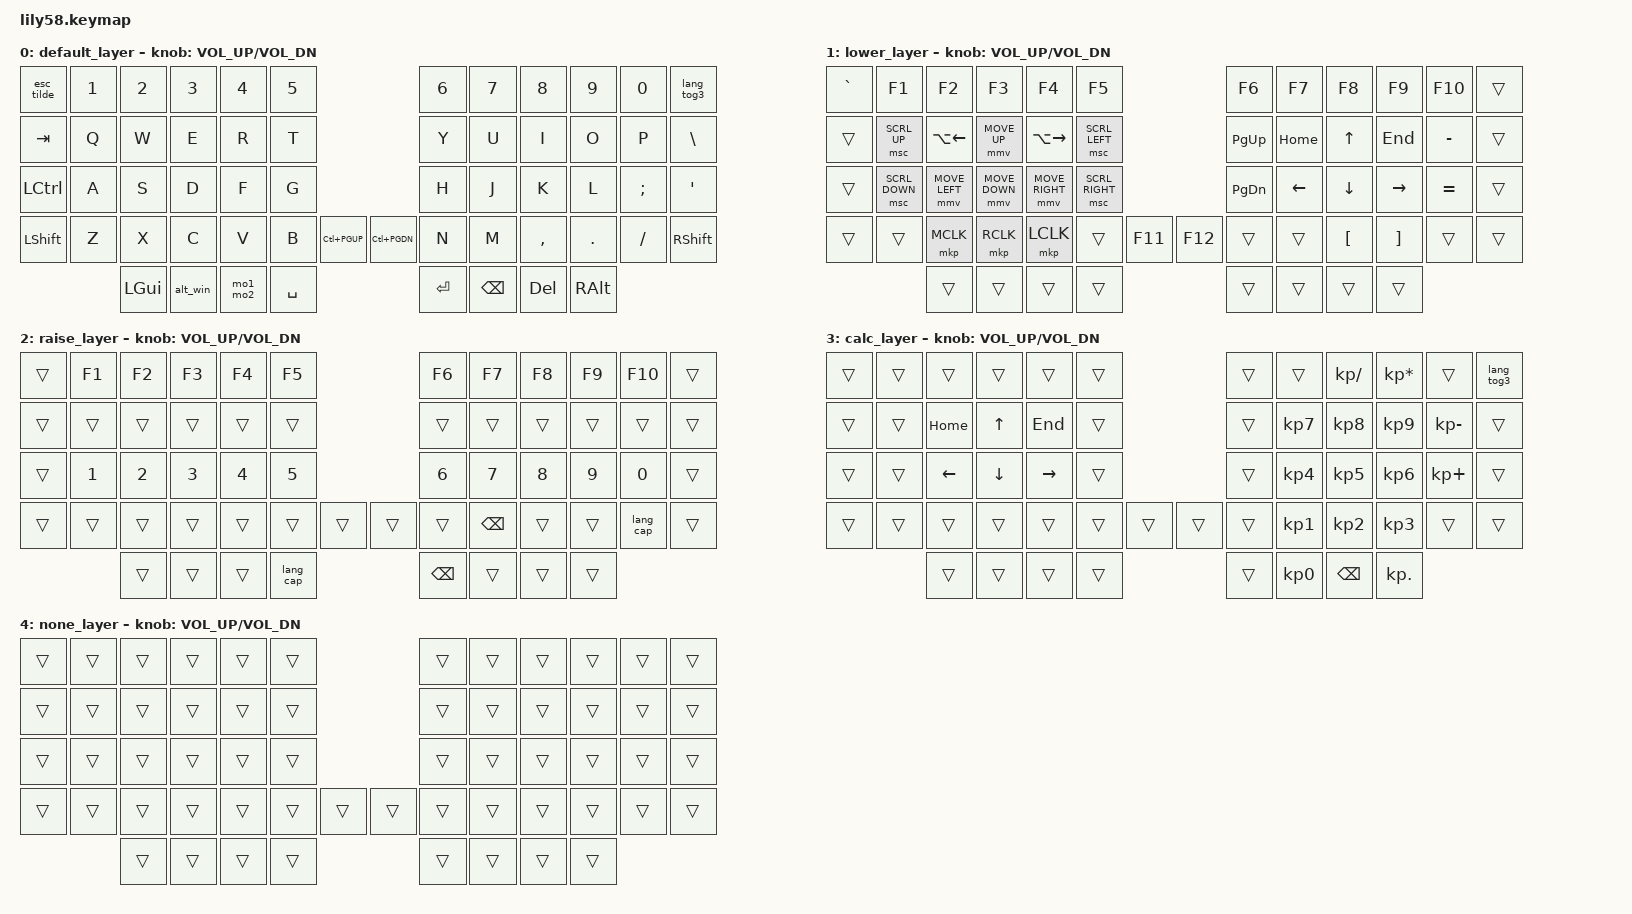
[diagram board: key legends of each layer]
/*
 * Copyright (c) 2020 The ZMK Contributors
 *
 * SPDX-License-Identifier: MIT
 */

#define ZMK_POINTING_DEFAULT_MOVE_VAL 800  // default: 600
#define ZMK_POINTING_DEFAULT_SCRL_VAL 20    // default: 10

#include <behaviors.dtsi>
#include <dt-bindings/zmk/keys.h>
#include <dt-bindings/zmk/bt.h>
#include <dt-bindings/zmk/ext_power.h>
#include <dt-bindings/zmk/pointing.h> // 마우스 기능 추가




/ {
    behaviors {
    //// 모드 모프 ////
        
        // (ESC, ~)
        // 우측 쉬프트 누름 여부에 따라 ESC 또는 Tilde(~) 입력
        esc_tilde: esc_tilde {
            compatible = "zmk,behavior-mod-morph";
            #binding-cells = <0>;
            bindings = <&kp ESC>, <&kp TILDE>;
            mods = <(MOD_RSFT)>;
        };

        // lang_cap 1단계: Ctrl에 따른 분기 
        // (Hangeul, CapsLock)
        // 컨트롤 누름 여부에 따라 한/영 또는 Capslock 입력
        lang_cap:  lang_capslock {
            compatible = "zmk,behavior-mod-morph";
            #binding-cells = <0>;
            bindings = <&kp LANG_HANGEUL>, <&caps_hanja>;
            mods = <(MOD_LCTL)>;
        };

        // lang_cap 2단계: Shift에 따른 분기
        caps_hanja: caps_hanja {
            compatible = "zmk,behavior-mod-morph";
            #binding-cells = <0>;
            bindings = <&kp CAPS>, <&kp LANG_HANJA>;  
            mods = <(MOD_LSFT|MOD_RSFT)>;
        };



    //// 탭댄스 ////
        lang_tog3: lang_tog3 {
            compatible = "zmk,behavior-tap-dance";
            #binding-cells = <0>;
            tapping-term-ms = <200>;
            bindings = <&lang_cap>, <&tog 3>;
        };

        alt_win: alt_win {
            compatible = "zmk,behavior-tap-dance";
            #binding-cells = <0>;
            tapping-term-ms = <200>;
            bindings = <&kp LALT>, <&kp LGUI>;
        };

        mo1_mo2: mo1_mo2 {
            compatible = "zmk,behavior-tap-dance";
            #binding-cells = <0>;
            tapping-term-ms = <200>;
            bindings = <&mo 1>, <&mo 2>;
        };

    //// 레이어 탭 ////

        /*
        lt: layer_tap {
            compatible = "zmk,behavior-hold-tap";
            #binding-cells = <2>;
            flavor = "tap-preferred"; // 탭 우선
            tapping-term-ms = <200>;
            quick-tap-ms = <200>;
            bindings = <&mo>, <&kp>;
            display-name = "Layer-Tap";
        };
        */
    };

    //// 콤보 ////
    // 홈로우 두 키를 동시에 눌러 괄호 입력
    // key-positions 번호는 keymap 의 키 순서(0부터, 왼쪽→오른쪽, 위→아래)
    // 홈로우(3번째 줄): 24=CTRL 25=A 26=S 27=D 28=F 29=G | 30=H 31=J 32=K 33=L 34=; 35='
    // timeout-ms: 두 키를 이 시간(ms) 안에 눌러야 콤보로 인식
    // layers: 기본 레이어(0)에서만 동작 (마우스/숫자 레이어 등에서 오작동 방지)
    combos {
        compatible = "zmk,combos";

        // F + D -> (
        combo_lpar {
            timeout-ms = <20>;
            key-positions = <28 27>;
            bindings = <&kp LPAR>;
            layers = <0>;
        };

        // D + S -> {
        combo_lbrc {
            timeout-ms = <20>;
            key-positions = <27 26>;
            bindings = <&kp LBRC>;
            layers = <0>;
        };

        // S + A -> [
        combo_lbkt {
            timeout-ms = <20>;
            key-positions = <26 25>;
            bindings = <&kp LBKT>;
            layers = <0>;
        };

        // J + K -> )
        combo_rpar {
            timeout-ms = <20>;
            key-positions = <31 32>;
            bindings = <&kp RPAR>;
            layers = <0>;
        };

        // K + L -> }
        combo_rbrc {
            timeout-ms = <20>;
            key-positions = <32 33>;
            bindings = <&kp RBRC>;
            layers = <0>;
        };

        // L + ; -> ]
        combo_rbkt {
            timeout-ms = <20>;
            key-positions = <33 34>;
            bindings = <&kp RBKT>;
            layers = <0>;
        };
    };
    
    keymap {
        compatible = "zmk,keymap";

        // Layer 0
        default_layer {
// ------------------------------------------------------------------------------------------------------------
// | ESC(~)|   1   |   2   |   3   |   4   |   5   |                    |   6   |   7   |   8   |   9   |   0   |       |
// |  TAB  |   Q   |   W   |   E   |   R   |   T   |                    |   Y   |   U   |   I   |   O   |   P   |   \   |
// |  CTRL |   A   |   S   |   D   |   F   |   G   |                    |   H   |   J   |   K   |   L   |   ;   |   '   |
// | SHIFT |   Z   |   X   |   C   |   V   |   B   | TAB(←) |  | TAB(→) |   N   |   M   |   ,   |   .   |   /   | SHIFT |
//                 |  GUI  |  ALT  | LOWER | SPACE |                    | ENTER | RAISE |  BSPC |  GUI  |
            bindings = <
&esc_tilde	&kp N1		&kp N2		&kp N3		&kp N4		&kp N5									    &kp N6		&kp N7      &kp N8		&kp N9		&kp N0		&lang_tog3
&kp TAB		&kp Q		&kp W		&kp E		&kp R		&kp T									    &kp Y		&kp U       &kp I		&kp O		&kp P		&kp BSLH
&kp LCTRL	&kp A		&kp S		&kp D		&kp F		&kp G									    &kp H		&kp J       &kp K		&kp L		&kp SEMI	&kp SQT
&kp LSHFT	&kp Z		&kp X		&kp C		&kp V		&kp B		&kp LC(PGUP)    &kp LC(PGDN)	&kp N		&kp M       &kp COMMA	&kp DOT		&kp FSLH	&kp RSHFT
						&kp LGUI	&alt_win	&mo1_mo2	&kp SPACE								    &kp ENTER	&kp BSPC    &kp DEL	    &kp RALT
            >;

            sensor-bindings = <&inc_dec_kp C_VOL_UP C_VOL_DN>;
        };

        // Layer 1
        lower_layer {
// ------------------------------------------------------------------------------------------------------------
// |   `   |   F1  |   F2  |   F3  |   F4  |   F5  |                    |   F6  |   F7  |   F8  |   F9  |  F10  |       |
// |       |SCRL_UP|M(Prev)|  M(↑) |M(Next)|SCRL_L |                    |       |  HOME |   ↑   |  END  |  -(_) |  PGUP |
// |       |SCRL_DN|  M(←) |  M(↓) |  M(→) |SCRL_R |                    |       |   ←   |   ↓   |   →   |  =(+) |  PGDN |
// |       |       |M(Mclk)|M(Rclk)|M(Lclk)|       |   F11  |  |   F12  |       |       |   {   |   }   |Hangeul|       |
//                 |       |       |       |Hangeul|                    |  BSPC |       |  BSPC |  DEL  |
            bindings = <
&kp GRAVE	&kp F1			&kp F2			&kp F3			&kp F4			    &kp F5								    &kp F6		&kp F7      &kp F8		&kp F9		&kp F10		&trans
&trans		&msc SCRL_UP	&kp LA(LEFT)	&mmv MOVE_UP	&kp LA(RIGHT)       &msc SCRL_LEFT						    &kp PG_UP	&kp HOME    &kp UP		&kp END		&kp MINUS	&trans
&trans		&msc SCRL_DOWN	&mmv MOVE_LEFT	&mmv MOVE_DOWN	&mmv MOVE_RIGHT	    &msc SCRL_RIGHT						    &kp PG_DN	&kp LEFT    &kp DOWN	&kp RIGHT	&kp EQUAL	&trans
&trans		&trans			&mkp MCLK		&mkp RCLK		&mkp LCLK		    &trans		    &kp F11		&kp F12     &trans		&trans  	&kp LBKT	&kp RBKT	&trans	    &trans
                            &trans			&trans			&trans			    &trans                                  &trans		&trans		&trans		&trans
            >;

            sensor-bindings = <&inc_dec_kp C_VOL_UP C_VOL_DN>;
        };

        // Layer 2
        raise_layer {
// ------------------------------------------------------------------------------------------------------------
// |   `   |   F1  |   F2  |   F3  |   F4  |   F5  |                    |   F6  |   F7  |   F8  |   F9  |  F10  |       |
// |       |       |       |       |       |       |                    |       |       |       |       |       |       |
// |       |   1   |   2   |   3   |   4   |   5   |                    |   6   |   7   |   8   |   9   |   10  |       |
// |       |       |       |       |       |       |   F11  |  |   F12  |       |       |       |       |Hangeul|       |
//                 |       |       |       |Hangeul|                    |       |       |       |       |
            bindings = <
&trans      &kp F1		&kp F2		&kp F3		&kp F4		&kp F5								&kp F6		&kp F7      &kp F8		&kp F9		&kp F10		&trans
&trans      &trans      &trans      &trans      &trans      &trans                              &trans      &trans      &trans      &trans      &trans      &trans
&trans      &kp N1      &kp N2      &kp N3      &kp N4      &kp N5                              &kp N6      &kp N7      &kp N8      &kp N9      &kp N0      &trans
&trans      &trans      &trans      &trans      &trans      &trans      &trans      &trans      &trans      &kp BSPC    &trans      &trans      &lang_cap   &trans
                        &trans      &trans      &trans      &lang_cap                           &kp BSPC    &trans      &trans      &trans
            >;

            sensor-bindings = <&inc_dec_kp C_VOL_UP C_VOL_DN>;
        };

        // Layer 3
        calc_layer {
// ------------------------------------------------------------------------------------------------------------
// |       |       |       |       |       |       |                    |       |       |   /   |   *   |       |       |
// |       |       |       |       |       |       |                    |       |   7   |   8   |   9   |   -   |       |
// |       |       |       |       |       |       |                    |       |   4   |   5   |   6   |   +   |       |
// |       |       |       |       |       |       |   "["  |  |  "]"   |       |   1   |   2   |   3   |       |       |
//                 |       |       |       |       |                    |       |   0   |  BSPC |   .   |
            bindings = <
&trans      &trans      &trans      &trans      &trans      &trans                              &trans      &trans      &kp KP_DIVIDE    &kp KP_MULTIPLY   &trans      &lang_tog3
&trans      &trans      &kp HOME    &kp UP		&kp END     &trans                              &trans      &kp KP_N7   &kp KP_N8    &kp KP_N9      &kp KP_MINUS   &trans
&trans      &trans      &kp LEFT    &kp DOWN	&kp RIGHT   &trans                              &trans      &kp KP_N4   &kp KP_N5    &kp KP_N6      &kp KP_PLUS    &trans
&trans      &trans      &trans      &trans      &trans      &trans      &trans      &trans      &trans      &kp KP_N1   &kp KP_N2    &kp KP_N3      &trans         &trans
                        &trans      &trans      &trans      &trans                              &trans      &kp KP_N0   &kp BSPC     &kp KP_DOT
            >;

            sensor-bindings = <&inc_dec_kp C_VOL_UP C_VOL_DN>;
        };

        // Layer 4
        none_layer {
// ------------------------------------------------------------------------------------------------------------
// |       |       |       |       |       |       |                    |       |       |       |       |       |       |
// |       |       |       |       |       |       |                    |       |       |       |       |       |       |
// |       |       |       |       |       |       |                    |       |       |       |       |       |       |
// |       |       |       |       |       |       |        |  |        |       |       |       |       |       |       |
//                 |       |       |       |       |                    |       |       |       |       |
            bindings = <
&trans      &trans      &trans      &trans      &trans      &trans                              &trans      &trans      &trans      &trans      &trans      &trans
&trans      &trans      &trans      &trans      &trans      &trans                              &trans      &trans      &trans      &trans      &trans      &trans
&trans      &trans      &trans      &trans      &trans      &trans                              &trans      &trans      &trans      &trans      &trans      &trans
&trans      &trans      &trans      &trans      &trans      &trans      &trans      &trans      &trans      &trans      &trans      &trans      &trans      &trans
                        &trans      &trans      &trans      &trans                              &trans      &trans      &trans      &trans
            >;

            sensor-bindings = <&inc_dec_kp C_VOL_UP C_VOL_DN>;
        };
    };
};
